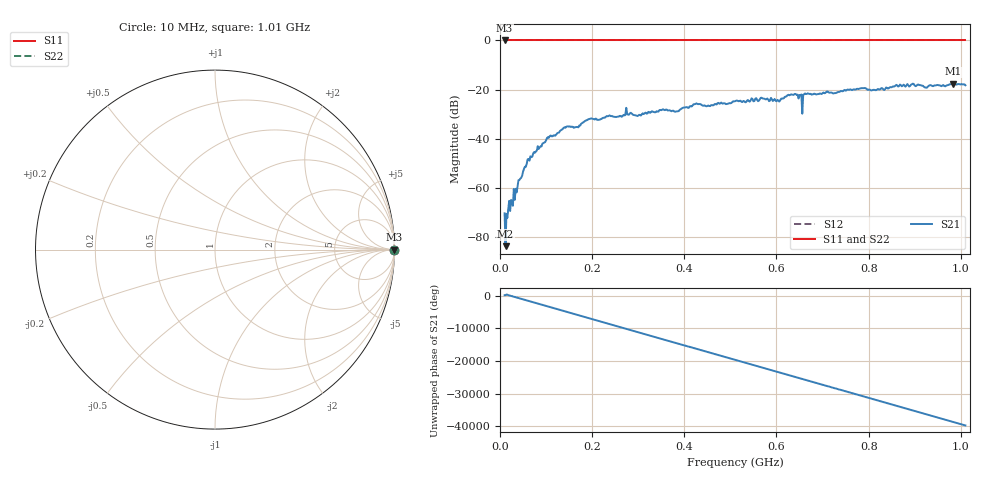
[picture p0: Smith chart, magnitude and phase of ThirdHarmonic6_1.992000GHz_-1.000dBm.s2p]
! 8/16/2025 11:56:40 PM
! C:\ANRITSUVNA\TEMP\TEMP.S2P
! CHANNEL.1
! TR.MEASUREMENT
! RAW.DATA
! RF.CORRECTION.OFF
! AVERAGING.OFF
! IF.BANDWIDTH: 5KHZ
! SWEEPTYPE:  FREQ.SWEEP(Linear)
! Reference Plane Port Info
! PORT:  PORT1  PORT2
! DISTANCE:  0  m  0  m
! TIME:  0  s  0  s
! PHASE.OFFSET:  0  deg.  0  deg.
! LOSS:  0  dB  0  dB
! REF.LOSS:  0  dB  0  dB
! REF.FREQ:  0  Hz  0  Hz
! Power Info
! POWER:  -20  dBm  -20  dBm
! EFF.POWER:  -20  dBm  -20  dBm
! SOURCE.ATTEN:  0  dB  0  dB
! TEST.ATTEN:  0  dB  0  dB
# GHZ S RI R 50.0
! FREQ.GHZ  S11RE  S11IM  S21RE  S21IM  S12RE  S12IM  S22RE  S22IM
!; PortSelection: Port_12
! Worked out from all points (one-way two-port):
!   501 points, 10 MHz to 1.01 GHz, reference 50 ohm
!   highest |S21| = -17.57 dB at 984 MHz (marker M1); lowest = -83.8 dB at 12 MHz (marker M2)
!   lowest |S11| = 0.0 dB at 10 MHz (marker M3)
!   |S11| at or under -10 dB: nowhere
!   |S22| runs from 0.0 to 0.0 dB; largest |S21 - S12| = 1.1
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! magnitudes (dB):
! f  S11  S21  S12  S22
! 10 MHz  0.0  -70.4  0.0  0.0
! 12 MHz  0.0  -83.8  0.0  0.0
! 42 MHz  0.0  -56.9  0.0  0.0
! 64 MHz  0.0  -48.9  0.0  0.0
! 106 MHz  0.0  -39.6  0.0  0.0
! 142 MHz  0.0  -35.5  0.0  0.0
! 178 MHz  0.0  -33.7  0.0  0.0
! 196 MHz  0.0  -31.8  0.0  0.0
! 344 MHz  0.0  -28.9  0.0  0.0
! 384 MHz  0.0  -28.9  0.0  0.0
! 424 MHz  0.0  -25.9  0.0  0.0
! 452 MHz  0.0  -26.5  0.0  0.0
! 510 MHz  0.0  -24.7  0.0  0.0
! 604 MHz  0.0  -24.5  0.0  0.0
! 638 MHz  0.0  -22.1  0.0  0.0
! 650 MHz  0.0  -22.2  0.0  0.0
! 652 MHz  0.0  -22.3  0.0  0.0
! 662 MHz  0.0  -21.6  0.0  0.0
! 678 MHz  0.0  -22.0  0.0  0.0
! 844 MHz  0.0  -19.4  0.0  0.0
! 984 MHz  0.0  -17.6  0.0  0.0
! 1.01 GHz  0.0  -18.3  0.0  0.0
